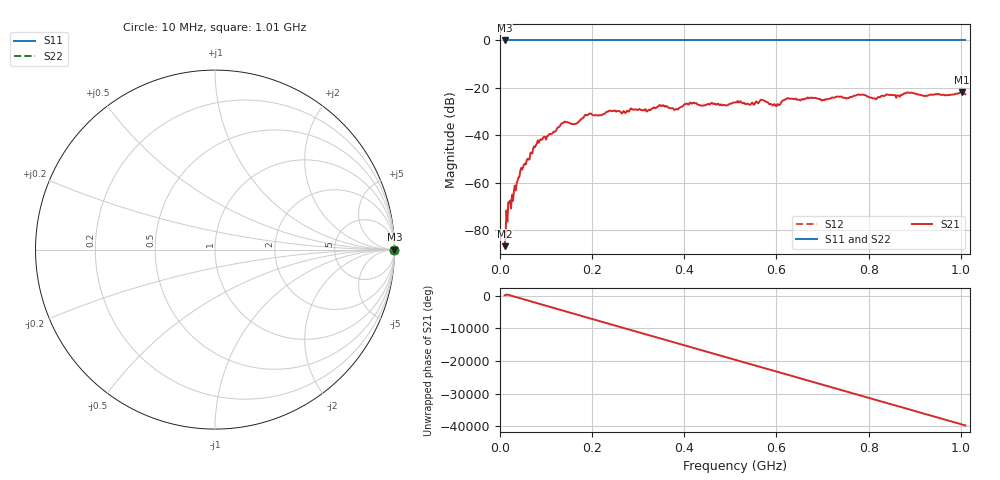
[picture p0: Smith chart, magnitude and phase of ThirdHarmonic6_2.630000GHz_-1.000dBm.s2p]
! 8/17/2025 5:52:39 AM
! C:\ANRITSUVNA\TEMP\TEMP.S2P
! CHANNEL.1
! TR.MEASUREMENT
! RAW.DATA
! RF.CORRECTION.OFF
! AVERAGING.OFF
! IF.BANDWIDTH: 5KHZ
! SWEEPTYPE:  FREQ.SWEEP(Linear)
! Reference Plane Port Info
! PORT:  PORT1  PORT2
! DISTANCE:  0  m  0  m
! TIME:  0  s  0  s
! PHASE.OFFSET:  0  deg.  0  deg.
! LOSS:  0  dB  0  dB
! REF.LOSS:  0  dB  0  dB
! REF.FREQ:  0  Hz  0  Hz
! Power Info
! POWER:  -20  dBm  -20  dBm
! EFF.POWER:  -20  dBm  -20  dBm
! SOURCE.ATTEN:  0  dB  0  dB
! TEST.ATTEN:  0  dB  0  dB
# GHZ S RI R 50.0
! FREQ.GHZ  S11RE  S11IM  S21RE  S21IM  S12RE  S12IM  S22RE  S22IM
!; PortSelection: Port_12
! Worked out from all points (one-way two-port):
!   501 points, 10 MHz to 1.01 GHz, reference 50 ohm
!   highest |S21| = -21.79 dB at 1.002 GHz (marker M1); lowest = -86.7 dB at 10 MHz (marker M2)
!   lowest |S11| = 0.0 dB at 10 MHz (marker M3)
!   |S11| at or under -10 dB: nowhere
!   |S22| runs from 0.0 to 0.0 dB; largest |S21 - S12| = 1.1
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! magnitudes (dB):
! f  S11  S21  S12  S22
! 10 MHz  0.0  -86.7  0.0  0.0
! 18 MHz  0.0  -68.2  0.0  0.0
! 42 MHz  0.0  -57.5  0.0  0.0
! 78 MHz  0.0  -44.1  0.0  0.0
! 136 MHz  0.0  -34.8  0.0  0.0
! 164 MHz  0.0  -35.1  0.0  0.0
! 178 MHz  0.0  -32.9  0.0  0.0
! 194 MHz  0.0  -30.8  0.0  0.0
! 322 MHz  0.0  -29.3  0.0  0.0
! 344 MHz  0.0  -27.8  0.0  0.0
! 382 MHz  0.0  -28.9  0.0  0.0
! 416 MHz  0.0  -26.7  0.0  0.0
! 510 MHz  0.0  -26.1  0.0  0.0
! 570 MHz  0.0  -25.0  0.0  0.0
! 602 MHz  0.0  -26.8  0.0  0.0
! 624 MHz  0.0  -24.5  0.0  0.0
! 678 MHz  0.0  -24.2  0.0  0.0
! 782 MHz  0.0  -22.9  0.0  0.0
! 814 MHz  0.0  -24.5  0.0  0.0
! 844 MHz  0.0  -23.0  0.0  0.0
! 1.002 GHz  0.0  -21.8  0.0  0.0
! 1.01 GHz  0.0  -22.6  0.0  0.0
